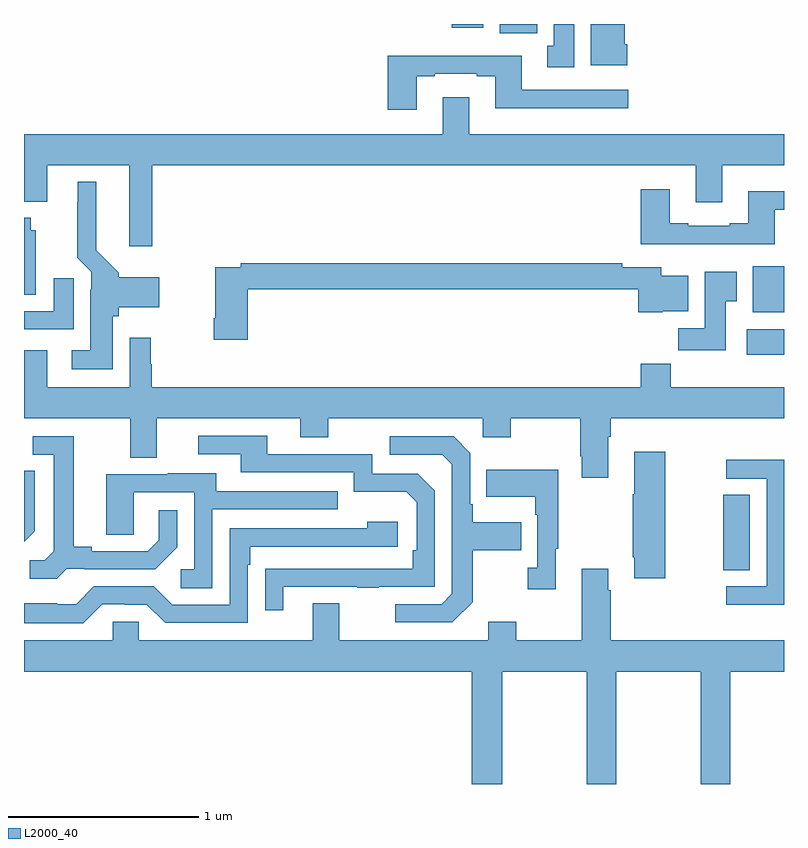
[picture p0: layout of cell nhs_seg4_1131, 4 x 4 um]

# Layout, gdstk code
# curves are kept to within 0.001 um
import gdstk
lib = gdstk.Library(unit=1e-6, precision=1e-09)
def R(c, l, rs):  # rectangles x0, y0, x1, y1
    for r in rs: c.add(gdstk.rectangle(r[:2], r[2:], *l))
def P(c, l, *ps):  # polygons
    for p in ps: c.add(gdstk.Polygon(p, *l))
L2000_40 = (2000, 40)

nhs_seg4_1131 = lib.new_cell('nhs_seg4_1131')
R(nhs_seg4_1131, L2000_40, [(172.681,792.025,172.819,792.422), (172.803,793.16,173,793.294), (172.835,793.382,173,793.624), (171.503,794.852,171.7,794.9), (171.251,794.88,171.418,794.9)])
P(nhs_seg4_1131, L2000_40, [(172.175,794.794),(172.162,794.794),(172.162,794.9),(171.984,794.9),(171.984,794.883),(171.983,794.883),(171.983,794.682),(172.175,794.682)],
  [(171.895,794.9),(171.788,794.9),(171.788,794.786),(171.755,794.786),(171.755,794.673),(171.895,794.673)],
  [(171.067,794.625),(171.163,794.625),(171.163,794.637),(171.383,794.637),(171.383,794.625),(171.479,794.625),(171.479,794.456),(172.18,794.456),(172.18,794.553),(171.619,794.553),(171.619,794.734),(170.915,794.734),(170.915,794.448),(171.067,794.448)],
  [(169.676,794.156),(172.535,794.156),(172.535,793.962),(172.675,793.962),(172.675,794.156),(173,794.156),(173,794.32),(171.343,794.32),(171.343,794.515),(171.203,794.515),(171.203,794.32),(169,794.32),(169,793.964),(169.123,793.964),(169.123,794.156),(169.553,794.156),(169.553,793.731),(169.676,793.731)],
  [(169.468,793.362),(169.499,793.362),(169.499,793.409),(169.711,793.409),(169.711,793.567),(169.499,793.567),(169.499,793.59),(169.381,793.708),(169.381,794.071),(169.283,794.071),(169.283,793.961),(169.279,793.961),(169.279,793.67),(169.353,793.596),(169.353,793.502),(169.349,793.502),(169.349,793.183),(169.251,793.183),(169.251,793.082),(169.468,793.082)],
  [(172.951,793.923),(173,793.923),(173,794.02),(172.811,794.02),(172.811,793.852),(172.715,793.852),(172.715,793.839),(172.495,793.839),(172.495,793.852),(172.399,793.852),(172.399,794.029),(172.247,794.029),(172.247,793.742),(172.951,793.742)],
  [(169.063,793.815),(169.036,793.815),(169.036,793.879),(169,793.879),(169,793.474),(169.063,793.474)],
  [(170.177,793.504),(172.232,793.504),(172.232,793.382),(172.362,793.382),(172.362,793.388),(172.495,793.388),(172.495,793.576),(172.354,793.576),(172.354,793.62),(172.148,793.62),(172.148,793.64),(170.14,793.64),(170.14,793.62),(170.006,793.62),(170.006,793.351),(169.999,793.351),(169.999,793.239),(170.177,793.239)],
  [(172.693,793.441),(172.75,793.441),(172.75,793.597),(172.583,793.597),(172.583,793.3),(172.444,793.3),(172.444,793.182),(172.693,793.182)],
  [(169.261,793.561),(169.157,793.561),(169.157,793.389),(169,793.389),(169,793.293),(169.261,793.293)],
  [(172.075,792.728),(172.088,792.728),(172.088,792.824),(173,792.824),(173,792.988),(172.403,792.988),(172.403,793.112),(172.247,793.112),(172.247,792.988),(169.673,792.988),(169.673,793.11),(169.666,793.11),(169.666,793.249),(169.557,793.249),(169.557,792.988),(169.123,792.988),(169.123,793.183),(169,793.183),(169,792.824),(169.559,792.824),(169.559,792.616),(169.699,792.616),(169.699,792.824),(170.453,792.824),(170.453,792.725),(170.601,792.725),(170.601,792.824),(171.414,792.824),(171.414,792.725),(171.561,792.725),(171.561,792.824),(171.928,792.824),(171.928,792.625),(171.935,792.625),(171.935,792.513),(172.075,792.513)],
  [(170.365,791.937),(170.755,791.937),(170.755,791.932),(170.867,791.932),(170.867,791.937),(171.162,791.937),(171.162,792.444),(171.072,792.534),(170.832,792.534),(170.832,792.636),(170.281,792.636),(170.281,792.732),(169.917,792.732),(169.917,792.636),(170.141,792.636),(170.141,792.54),(170.736,792.54),(170.736,792.437),(171.013,792.437),(171.066,792.384),(171.066,792.13),(171.046,792.13),(171.046,792.033),(170.269,792.032),(170.269,791.814),(170.365,791.814)],
  [(171.361,791.857),(171.361,792.13),(171.617,792.13),(171.617,792.277),(171.361,792.277),(171.361,792.373),(171.348,792.373),(171.348,792.642),(171.261,792.729),(170.925,792.729),(170.925,792.633),(171.201,792.633),(171.252,792.582),(171.252,791.901),(171.198,791.847),(170.955,791.847),(170.955,791.751),(171.255,791.751)],
  [(169.224,792.033),(169.318,792.033),(169.318,792.03),(169.69,792.03),(169.806,792.146),(169.806,792.34),(169.709,792.34),(169.709,792.183),(169.652,792.126),(169.357,792.126),(169.357,792.149),(169.261,792.149),(169.261,792.729),(169.047,792.729),(169.047,792.633),(169.157,792.633),(169.157,792.125),(169.11,792.078),(169.029,792.078),(169.029,791.981),(169.172,791.981)],
  [(172.374,792.649),(172.211,792.649),(172.211,792.425),(172.204,792.425),(172.204,792.094),(172.211,792.094),(172.211,791.982),(172.374,791.982)],
  [(173,792.606),(172.695,792.606),(172.695,792.507),(172.908,792.507),(172.908,791.94),(172.695,791.94),(172.695,791.844),(173,791.844)],
  [(171.799,792.137),(171.811,792.137),(171.811,792.553),(171.433,792.553),(171.433,792.413),(171.69,792.413),(171.69,792.317),(171.702,792.317),(171.702,792.038),(171.651,792.038),(171.651,791.925),(171.799,791.925)],
  [(169.056,792.23),(169.056,792.548),(169,792.548),(169,792.174)],
  [(169.992,792.345),(170.651,792.345),(170.651,792.441),(170.011,792.441),(170.011,792.535),(169.757,792.535),(169.757,792.531),(169.433,792.531),(169.433,792.211),(169.578,792.211),(169.578,792.435),(169.896,792.435),(169.896,792.03),(169.824,792.03),(169.824,791.929),(169.992,791.929)],
  [(169.413,791.847),(169.529,791.847),(169.529,791.844),(169.647,791.844),(169.743,791.748),(170.178,791.748),(170.178,792.053),(170.191,792.053),(170.191,792.15),(170.968,792.15),(170.968,792.28),(170.807,792.28),(170.807,792.246),(170.082,792.246),(170.082,791.844),(169.779,791.844),(169.683,791.94),(169.368,791.94),(169.275,791.847),(169.175,791.847),(169.175,791.851),(169,791.851),(169,791.747),(169.313,791.747)],
  [(171.516,791.492),(171.961,791.492),(171.961,790.9),(172.116,790.9),(172.116,791.492),(172.561,791.492),(172.561,790.9),(172.716,790.9),(172.716,791.492),(173,791.492),(173,791.656),(172.088,791.656),(172.088,791.921),(172.075,791.921),(172.075,792.034),(171.935,792.034),(171.935,791.656),(171.591,791.656),(171.591,791.755),(171.443,791.755),(171.443,791.656),(170.659,791.656),(170.659,791.851),(170.519,791.851),(170.519,791.656),(169.605,791.656),(169.605,791.754),(169.467,791.754),(169.467,791.656),(169,791.656),(169,791.492),(171.356,791.492),(171.356,790.9),(171.516,790.9)])

lib.write_gds('nhs_seg4_1131.gds')
